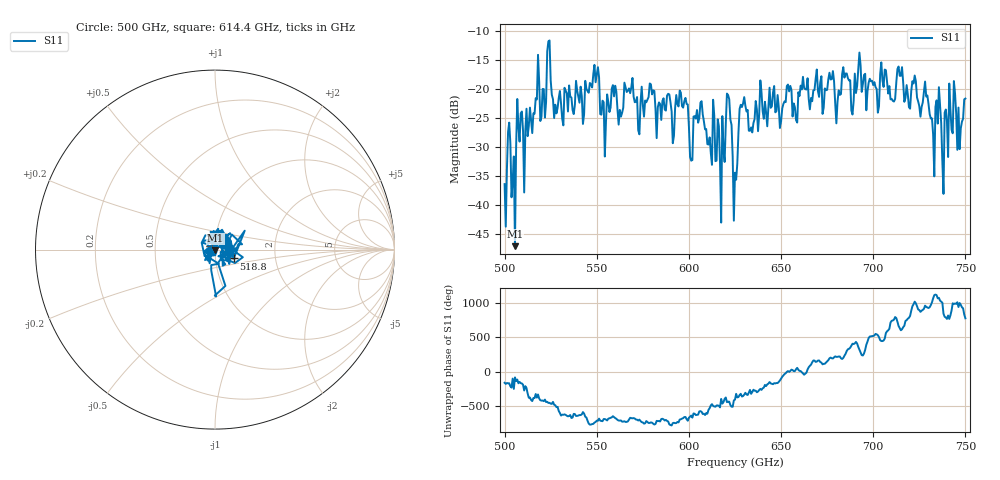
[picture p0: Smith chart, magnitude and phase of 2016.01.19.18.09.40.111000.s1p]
!Created with skrf (http://scikit-rf.org).
# GHz S RI R 50.0
!freq ReS11 ImS11
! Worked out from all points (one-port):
!   401 points, 500 GHz to 750 GHz, reference 50 ohm
!   lowest |S11| = -47.1 dB at 505.6 GHz (marker M1), VSWR 1.01, Z = 50.1 - j0.436 ohm
!   |S11| at or under -10 dB: start of sweep to end of sweep
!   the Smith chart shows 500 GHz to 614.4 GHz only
!   S11 on the Smith chart (normalised r, x): 500 GHz: 0.97, -0.01; 518.8 GHz: 1.23, -0.12; 614.4 GHz: 0.96, -0.03
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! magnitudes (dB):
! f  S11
! 500 GHz  -36.4
! 505.6 GHz  -47.1
! 508.1 GHz  -29.1
! 511.9 GHz  -23.4
! 518.8 GHz  -18.7
! 524.4 GHz  -11.7
! 526.9 GHz  -25.0
! 531.2 GHz  -25.2
! 549.4 GHz  -18.9
! 553.1 GHz  -22.0
! 562.5 GHz  -23.6
! 593.8 GHz  -22.6
! 601.2 GHz  -32.4
! 605.6 GHz  -25.0
! 614.4 GHz  -32.4
! 618.1 GHz  -24.7
! 621.9 GHz  -21.8
! 625 GHz  -34.4
! 628.8 GHz  -23.1
! 656.2 GHz  -24.8
! 687.5 GHz  -18.5
! 714.4 GHz  -17.7
! 718.8 GHz  -20.9
! 728.8 GHz  -21.3
! 731.9 GHz  -25.1
! 735 GHz  -26.0
! 738.1 GHz  -38.1
! 750 GHz  -21.7
